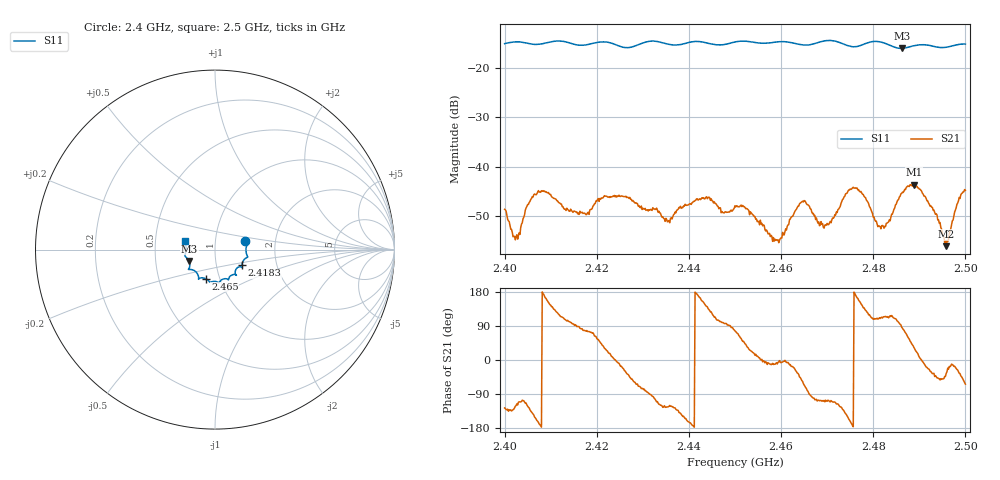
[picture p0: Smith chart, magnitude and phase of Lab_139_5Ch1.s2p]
# Hz S RI R 50
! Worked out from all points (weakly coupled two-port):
!   601 points, 2.4 GHz to 2.5 GHz, reference 50 ohm
!   highest |S21| = -43.64 dB at 2.4888 GHz (marker M1); lowest = -56.1 dB at 2.4958 GHz (marker M2)
!   lowest |S11| = -16.1 dB at 2.4862 GHz (marker M3), VSWR 1.37, Z = 37.1 - j4.79 ohm
!   |S11| at or under -10 dB: start of sweep to end of sweep
!   S12 and S22 are empty: the file has one direction only
!   S11 on the Smith chart (normalised r, x): 2.4 GHz: 1.40, +0.13; 2.4183 GHz: 1.33, -0.24; 2.465 GHz: 0.86, -0.28; 2.5 GHz: 0.71, +0.07
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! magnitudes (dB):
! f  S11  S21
! 2.4 GHz  -15.1  -48.7
! 2.4023 GHz  -14.8  -54.8
! 2.4077 GHz  -15.2  -45.2
! 2.4167 GHz  -15.4  -49.3
! 2.4183 GHz  -15.2  -49.7
! 2.425 GHz  -15.6  -46.0
! 2.4333 GHz  -14.7  -49.3
! 2.4358 GHz  -15.3  -51.4
! 2.444 GHz  -15.0  -46.5
! 2.45 GHz  -14.8  -47.9
! 2.459 GHz  -14.8  -54.8
! 2.465 GHz  -15.4  -46.9
! 2.4667 GHz  -15.3  -49.2
! 2.4698 GHz  -14.5  -51.9
! 2.476 GHz  -15.8  -44.4
! 2.4812 GHz  -14.7  -52.1
! 2.4833 GHz  -15.3  -51.2
! 2.4862 GHz  -16.1  -45.4
! 2.4888 GHz  -15.5  -43.6
! 2.4933 GHz  -15.7  -49.3
! 2.4958 GHz  -15.9  -56.1
! 2.5 GHz  -15.2  -44.8
